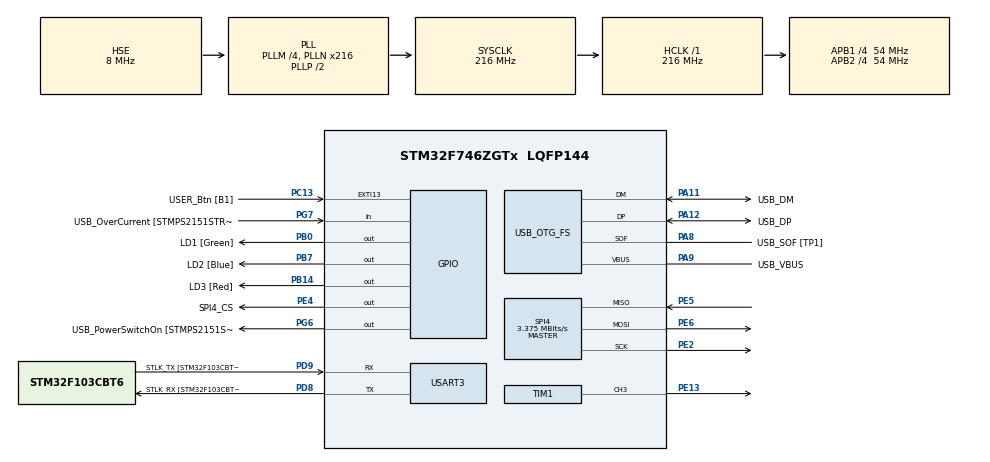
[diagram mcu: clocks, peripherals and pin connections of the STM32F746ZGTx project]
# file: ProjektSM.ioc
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ARM.CMSIS.5.7.0.CMSISJjCORE=true
ARM.CMSIS.5.7.0.CMSISJjDSP=Library
Mcu.Family=STM32F7
Mcu.Name=STM32F746ZGTx
Mcu.Package=LQFP144
NVIC.PriorityGroup=NVIC_PRIORITYGROUP_4
NVIC.USART3_IRQn=true\:0\:0\:false\:false\:true\:true\:true\:true
PA1.GPIO_Label=RMII_REF_CLK [LAN8742A-CZ-TR_REFCLK0]
PA1.Signal=ETH_REF_CLK
PA10.GPIO_Label=USB_ID
PA10.Signal=USB_OTG_FS_ID
PA11.GPIO_Label=USB_DM
PA11.Mode=Device_Only
PA11.Signal=USB_OTG_FS_DM
PA12.GPIO_Label=USB_DP
PA12.Mode=Device_Only
PA12.Signal=USB_OTG_FS_DP
PA13.GPIO_Label=TMS
PA13.Mode=Serial_Wire
PA13.Signal=SYS_JTMS-SWDIO
PA14.GPIO_Label=TCK
PA14.Mode=Serial_Wire
PA14.Signal=SYS_JTCK-SWCLK
PA2.GPIO_Label=RMII_MDIO [LAN8742A-CZ-TR_MDIO]
PA2.Signal=ETH_MDIO
PA7.GPIO_Label=RMII_CRS_DV [LAN8742A-CZ-TR_CRS_DV]
PA7.Signal=ETH_CRS_DV
PA8.GPIO_Label=USB_SOF [TP1]
PA8.Mode=Activate_SOF_FS
PA8.Signal=USB_OTG_FS_SOF
PA9.GPIO_Label=USB_VBUS
PA9.Mode=Activate_VBUS
PA9.Signal=USB_OTG_FS_VBUS
PB0.GPIO_Label=LD1 [Green]
PB0.Signal=GPIO_Output
PB13.GPIO_Label=RMII_TXD1 [LAN8742A-CZ-TR_TXD1]
PB13.Signal=ETH_TXD1
PB14.GPIO_Label=LD3 [Red]
PB14.Signal=GPIO_Output
PB3.GPIO_Label=SW0
PB3.Signal=SYS_JTDO-SWO
PB7.GPIO_Label=LD2 [Blue]
PB7.Signal=GPIO_Output
PC1.GPIO_Label=RMII_MDC [LAN8742A-CZ-TR_MDC]
PC1.Signal=ETH_MDC
PC13.GPIO_Label=USER_Btn [B1]
PC13.Signal=GPXTI13
PC14/OSC32_IN.Mode=LSE-External-Oscillator
PC14/OSC32_IN.Signal=RCC_OSC32_IN
PC15/OSC32_OUT.Mode=LSE-External-Oscillator
PC15/OSC32_OUT.Signal=RCC_OSC32_OUT
PC4.GPIO_Label=RMII_RXD0 [LAN8742A-CZ-TR_RXD0]
PC4.Signal=ETH_RXD0
PC5.GPIO_Label=RMII_RXD1 [LAN8742A-CZ-TR_RXD1]
PC5.Signal=ETH_RXD1
PD8.GPIO_Label=STLK_RX [STM32F103CBT6_PA3]
PD8.GPIO_PuPd=GPIO_NOPULL
PD8.Mode=Asynchronous
PD8.Signal=USART3_TX
PD9.GPIO_Label=STLK_TX [STM32F103CBT6_PA2]
PD9.GPIO_PuPd=GPIO_NOPULL
PD9.Mode=Asynchronous
PD9.Signal=USART3_RX
PE13.Signal=S_TIM1_CH3
PE2.Mode=Full_Duplex_Master
PE2.Signal=SPI4_SCK
PE4.GPIO_Label=SPI4_CS
PE4.Signal=GPIO_Output
PE5.Mode=Full_Duplex_Master
PE5.Signal=SPI4_MISO
PE6.Mode=Full_Duplex_Master
PE6.Signal=SPI4_MOSI
PG11.GPIO_Label=RMII_TX_EN [LAN8742A-CZ-TR_TXEN]
PG11.Signal=ETH_TX_EN
PG13.GPIO_Label=RMII_TXD0 [LAN8742A-CZ-TR_TXD0]
PG13.Signal=ETH_TXD0
PG6.GPIO_Label=USB_PowerSwitchOn [STMPS2151STR_EN]
PG6.Signal=GPIO_Output
PG7.GPIO_Label=USB_OverCurrent [STMPS2151STR_FAULT]
PG7.Signal=GPIO_Input
PH0/OSC_IN.GPIO_Label=MCO [STM32F103CBT6_PA8]
PH0/OSC_IN.Mode=HSE-External-Clock-Source
PH0/OSC_IN.Signal=RCC_OSC_IN
PH1/OSC_OUT.Mode=HSE-External-Clock-Source
PH1/OSC_OUT.Signal=RCC_OSC_OUT
ProjectManager.HeapSize=0x200
ProjectManager.StackSize=0x400
ProjectManager.TargetToolchain=STM32CubeIDE
RCC.48MHZClocksFreq_Value=24000000
RCC.AHBFreq_Value=216000000
RCC.APB1CLKDivider=RCC_HCLK_DIV4
RCC.APB1Freq_Value=54000000
RCC.APB1TimFreq_Value=108000000
RCC.APB2CLKDivider=RCC_HCLK_DIV4
RCC.APB2Freq_Value=54000000
RCC.APB2TimFreq_Value=108000000
RCC.CortexFreq_Value=216000000
RCC.HCLKFreq_Value=216000000
RCC.HSE_VALUE=8000000
RCC.HSI_VALUE=16000000
RCC.PLLM=4
RCC.PLLMUL=RCC_PLL_MUL9
RCC.PLLN=216
RCC.PLLQ=9
RCC.PRESCALERUSB=RCC_USBCLKSOURCE_PLL_DIV1_5
RCC.SYSCLKFreq_VALUE=216000000
RCC.SYSCLKSource=RCC_SYSCLKSOURCE_PLLCLK
RCC.SYSCLKSourceVirtual=RCC_SYSCLKSOURCE_PLLCLK
RCC.USBFreq_Value=48000000
RCC.VCOOutputFreq_Value=432000000
SH.S_TIM1_CH3.0=TIM1_CH3,PWM Generation3 CH3
SPI4.BaudRatePrescaler=SPI_BAUDRATEPRESCALER_16
SPI4.CLKPhase=SPI_PHASE_2EDGE
SPI4.CLKPolarity=SPI_POLARITY_HIGH
SPI4.CalculateBaudRate=3.375 MBits/s
SPI4.DataSize=SPI_DATASIZE_8BIT
SPI4.Direction=SPI_DIRECTION_2LINES
SPI4.Mode=SPI_MODE_MASTER
SPI4.VirtualType=VM_MASTER
TIM1.Channel-PWM\ Generation3\ CH3=TIM_CHANNEL_3
TIM1.Period=999
TIM1.Prescaler=107
USART3.VirtualMode-Asynchronous=VM_ASYNC
USB_OTG_FS.VirtualMode=Device_Only
VP_ARM.CMSIS_VS_CMSISJjCORE_5.4.0_5.7.0.Mode=CMSISJjCORE
VP_ARM.CMSIS_VS_CMSISJjDSP_1.8.0_5.7.0.Mode=CMSISJjDSP
VP_TIM1_VS_ClockSourceINT.Mode=Internal
board=NUCLEO-F746ZG

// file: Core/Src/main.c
/* USER CODE BEGIN Header */
/**
  ******************************************************************************
  * @file           : main.c
  * @brief          : Main program body
  ******************************************************************************
  * @attention
  *
  * Copyright (c) 2023 STMicroelectronics.
  * All rights reserved.
  *
  * This software is licensed under terms that can be found in the LICENSE file
  * in the root directory of this software component.
  * If no LICENSE file comes with this software, it is provided AS-IS.
  *
  ******************************************************************************
  */
/* USER CODE END Header */
#include "main.h"
#include "spi.h"
#include "tim.h"
#include "usart.h"
#include "usb_otg.h"
#include "gpio.h"

/* USER CODE BEGIN Includes */
#include <stdio.h>
#include <stdlib.h>
#include "heater_config.h"
#include "bmp2_config.h"
/* USER CODE END Includes */

/* USER CODE BEGIN PV */
float reference = 30.f;

/* USER CODE END PV */

void SystemClock_Config(void);

/* USER CODE BEGIN 0 */
char msg_rec[];
/*
float str2f(&str)
{
	float res = str[0]-48;
	int dec_digit = 0;
	for (int i = 1; i < sizeof(str)/sizeof(str[0]); i++)
	{
		if (str[i] == 46)
			dec_digit = i;
		else if (dec_digit == 0)
		{
			res = 10*res;
			res += str[i]-48;
		}
		else
		{
			res += (str[i]-48) / pow(10, i-dec_digit);
		}
	}
}*/

void HAL_UART_RxCpltCallback(UART_HandleTypeDef *huart)
{
  if(huart == &huart3)
  {
		reference = strtof(msg_rec, NULL);
		if (reference > 40.f)
			reference = 40.f;
		HAL_UART_Receive_IT(&huart3, (uint8_t*)&msg_rec, 2);
  }
}
/* USER CODE END 0 */

int main(void)
{

  /* MCU Configuration--------------------------------------------------------*/

  /* Reset of all peripherals, Initializes the Flash interface and the Systick. */
  HAL_Init();

  /* Configure the system clock */
  SystemClock_Config();

  /* Initialize all configured peripherals */
  MX_GPIO_Init();
  MX_USART3_UART_Init();
  MX_USB_OTG_FS_PCD_Init();
  MX_SPI4_Init();
  MX_TIM1_Init();
  /* USER CODE BEGIN 2 */
  BMP2_Init(&bmp2dev_1);
  HEATER_PWM_Init(&hheater);

	HAL_UART_Receive_IT(&huart3, (uint8_t*)msg_rec, 2);
  /* USER CODE END 2 */

  /* Infinite loop */
  /* USER CODE BEGIN WHILE */
  while (1)
  {
	double reading = BMP2_ReadTemperature_degC(&bmp2dev_1);

	float duty = 50.f;
	if (reading > reference)
		duty = 0;
    HEATER_PWM_WriteDuty(&hheater, duty);

	char msg[64] = {0, };
	int msg_len = sprintf(msg, "temperature: %.4gC,    reference: %.4gC,    duty: %i%%\r\n", reading, reference, (int)duty);
	HAL_UART_Transmit(&huart3, (uint8_t*)msg, msg_len, 100);
    /* USER CODE END WHILE */

    /* USER CODE BEGIN 3 */
	HAL_Delay(100);
  }
  /* USER CODE END 3 */
}

void SystemClock_Config(void)
{
  RCC_OscInitTypeDef RCC_OscInitStruct = {0};
  RCC_ClkInitTypeDef RCC_ClkInitStruct = {0};

  /** Configure LSE Drive Capability
  */
  HAL_PWR_EnableBkUpAccess();

  /** Configure the main internal regulator output voltage
  */
  __HAL_RCC_PWR_CLK_ENABLE();
  __HAL_PWR_VOLTAGESCALING_CONFIG(PWR_REGULATOR_VOLTAGE_SCALE1);

  /** Initializes the RCC Oscillators according to the specified parameters
  * in the RCC_OscInitTypeDef structure.
  */
  RCC_OscInitStruct.OscillatorType = RCC_OSCILLATORTYPE_HSE;
  RCC_OscInitStruct.HSEState = RCC_HSE_BYPASS;
  RCC_OscInitStruct.PLL.PLLState = RCC_PLL_ON;
  RCC_OscInitStruct.PLL.PLLSource = RCC_PLLSOURCE_HSE;
  RCC_OscInitStruct.PLL.PLLM = 4;
  RCC_OscInitStruct.PLL.PLLN = 216;
  RCC_OscInitStruct.PLL.PLLP = RCC_PLLP_DIV2;
  RCC_OscInitStruct.PLL.PLLQ = 9;
  if (HAL_RCC_OscConfig(&RCC_OscInitStruct) != HAL_OK)
  {
    Error_Handler();
  }

  /** Activate the Over-Drive mode
  */
  if (HAL_PWREx_EnableOverDrive() != HAL_OK)
  {
    Error_Handler();
  }

  /** Initializes the CPU, AHB and APB buses clocks
  */
  RCC_ClkInitStruct.ClockType = RCC_CLOCKTYPE_HCLK|RCC_CLOCKTYPE_SYSCLK
                              |RCC_CLOCKTYPE_PCLK1|RCC_CLOCKTYPE_PCLK2;
  RCC_ClkInitStruct.SYSCLKSource = RCC_SYSCLKSOURCE_PLLCLK;
  RCC_ClkInitStruct.AHBCLKDivider = RCC_SYSCLK_DIV1;
  RCC_ClkInitStruct.APB1CLKDivider = RCC_HCLK_DIV4;
  RCC_ClkInitStruct.APB2CLKDivider = RCC_HCLK_DIV4;

  if (HAL_RCC_ClockConfig(&RCC_ClkInitStruct, FLASH_LATENCY_7) != HAL_OK)
  {
    Error_Handler();
  }
}

void Error_Handler(void)
{
  __disable_irq();
  while (1)
  {
  }
}
